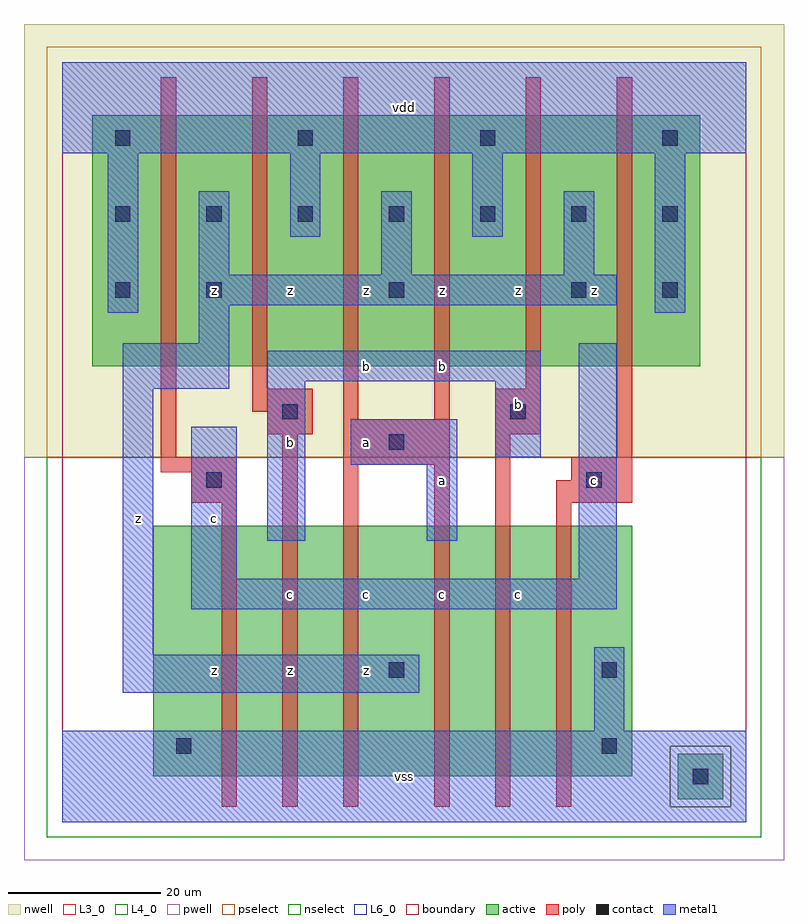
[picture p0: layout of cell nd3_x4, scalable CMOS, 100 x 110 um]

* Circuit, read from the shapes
.subckt nd3_x4 a b c vdd vss z
M1 n1 c vss vss nfet w=33u l=2u
M2 n2 b n1 vss nfet w=33u l=2u
M3 z a n2 vss nfet w=33u l=2u
M4 n3 a z vss nfet w=33u l=2u
M5 n4 b n3 vss nfet w=33u l=2u
M6 vss c n4 vss nfet w=33u l=2u
M7 z c vdd n5 pfet w=33u l=2u m=2
M8 vdd b z n5 pfet w=33u l=2u m=2
M9 z a vdd n5 pfet w=33u l=2u m=2
.ends

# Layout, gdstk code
import gdstk
lib = gdstk.Library(unit=1e-6, precision=1e-09)
def R(c, l, rs):  # rectangles x0, y0, x1, y1
    for r in rs: c.add(gdstk.rectangle(r[:2], r[2:], *l))
def A(c, l, x, y, w, h, nx, ny, dx, dy):  # array of equal rectangles
    R(c, l, [(x+i*dx, y+j*dy, x+i*dx+w, y+j*dy+h) for i in range(nx) for j in range(ny)])
L3_0 = (3, 0)
L4_0 = (4, 0)
L6_0 = (6, 0)
contact = (25, 0)
pwell = (41, 0)
nwell = (42, 0)
active = (43, 0)
pselect = (44, 0)
nselect = (45, 0)
poly = (46, 0)
metal1 = (49, 0)
boundary = (63, 0)

nd3_x4 = lib.new_cell('nd3_x4')
R(nd3_x4, L3_0, [(12,6,75,39)])
R(nd3_x4, L4_0, [(4,60,84,93)])
R(nd3_x4, L6_0, [(81,3,87,9)])
A(nd3_x4, contact, 19, 69, 2, 2, 3, 1, 24, 0)
A(nd3_x4, contact, 7, 79, 2, 2, 7, 1, 12, 0)
A(nd3_x4, contact, 7, 89, 2, 2, 4, 1, 24, 0)
R(nd3_x4, contact, [(83,5,85,7), (15,9,17,11), (71,9,73,11), (43,19,45,21), (71,19,73,21), (19,44,21,46), (69,44,71,46), (43,49,45,51), (29,53,31,55), (59,53,61,55), (7,69,9,71), (79,69,81,71)])
R(nd3_x4, pwell, [(-5,-5,95,48)])
R(nd3_x4, nwell, [(-5,48,95,105)])
R(nd3_x4, active, [(81,3,87,9), (12,6,75,39), (4,60,84,93)])
R(nd3_x4, pselect, [(80,2,88,10), (-2,48,92,102)])
R(nd3_x4, nselect, [(-2,-2,92,2), (-2,2,80,10), (88,2,92,10), (-2,10,92,48)])
R(nd3_x4, poly, [(21,2,23,42), (29,2,31,51), (37,2,39,47), (49,2,51,47), (57,2,59,51), (65,2,67,42), (17,42,23,46), (65,42,75,45), (67,45,75,48), (13,46,23,48), (37,47,51,53), (13,48,15,98), (73,48,75,98), (27,51,33,54), (57,51,63,57), (37,53,39,98), (49,53,51,98), (25,54,33,57), (25,57,27,98), (61,57,63,98)])
A(nd3_x4, metal1, 18, 72, 4, 11, 3, 1, 24, 0)
R(nd3_x4, metal1, [(0,0,90,12), (70,12,74,23), (8,17,47,22), (8,22,12,57), (17,28,73,32), (17,32,23,52), (68,32,73,63), (27,37,32,58), (48,37,52,47), (38,47,52,53), (57,48,63,58), (8,57,22,63), (27,58,63,62), (18,63,22,68), (6,67,10,88), (78,67,82,88), (18,68,73,72), (30,77,34,88), (54,77,58,88), (0,88,90,100)])
R(nd3_x4, boundary, [(0,0,90,100)])
nd3_x4.add(gdstk.Label('z', (10,40), layer=49, texttype=0))
nd3_x4.add(gdstk.Label('z', (30,20), layer=49, texttype=0))
nd3_x4.add(gdstk.Label('z', (20,20), layer=49, texttype=0))
nd3_x4.add(gdstk.Label('c', (30,30), layer=49, texttype=0))
nd3_x4.add(gdstk.Label('c', (20,40), layer=49, texttype=0))
nd3_x4.add(gdstk.Label('b', (30,50), layer=49, texttype=0))
nd3_x4.add(gdstk.Label('z', (20,70), layer=49, texttype=0))
nd3_x4.add(gdstk.Label('z', (30,70), layer=49, texttype=0))
nd3_x4.add(gdstk.Label('vss', (45,6), layer=49, texttype=0))
nd3_x4.add(gdstk.Label('z', (40,20), layer=49, texttype=0))
nd3_x4.add(gdstk.Label('c', (40,30), layer=49, texttype=0))
nd3_x4.add(gdstk.Label('c', (50,30), layer=49, texttype=0))
nd3_x4.add(gdstk.Label('a', (40,50), layer=49, texttype=0))
nd3_x4.add(gdstk.Label('a', (50,45), layer=49, texttype=0))
nd3_x4.add(gdstk.Label('b', (40,60), layer=49, texttype=0))
nd3_x4.add(gdstk.Label('b', (50,60), layer=49, texttype=0))
nd3_x4.add(gdstk.Label('z', (40,70), layer=49, texttype=0))
nd3_x4.add(gdstk.Label('z', (50,70), layer=49, texttype=0))
nd3_x4.add(gdstk.Label('vdd', (45,94), layer=49, texttype=0))
nd3_x4.add(gdstk.Label('c', (60,30), layer=49, texttype=0))
nd3_x4.add(gdstk.Label('c', (70,45), layer=49, texttype=0))
nd3_x4.add(gdstk.Label('b', (60,55), layer=49, texttype=0))
nd3_x4.add(gdstk.Label('z', (60,70), layer=49, texttype=0))
nd3_x4.add(gdstk.Label('z', (70,70), layer=49, texttype=0))

lib.write_gds('nd3_x4.gds')
